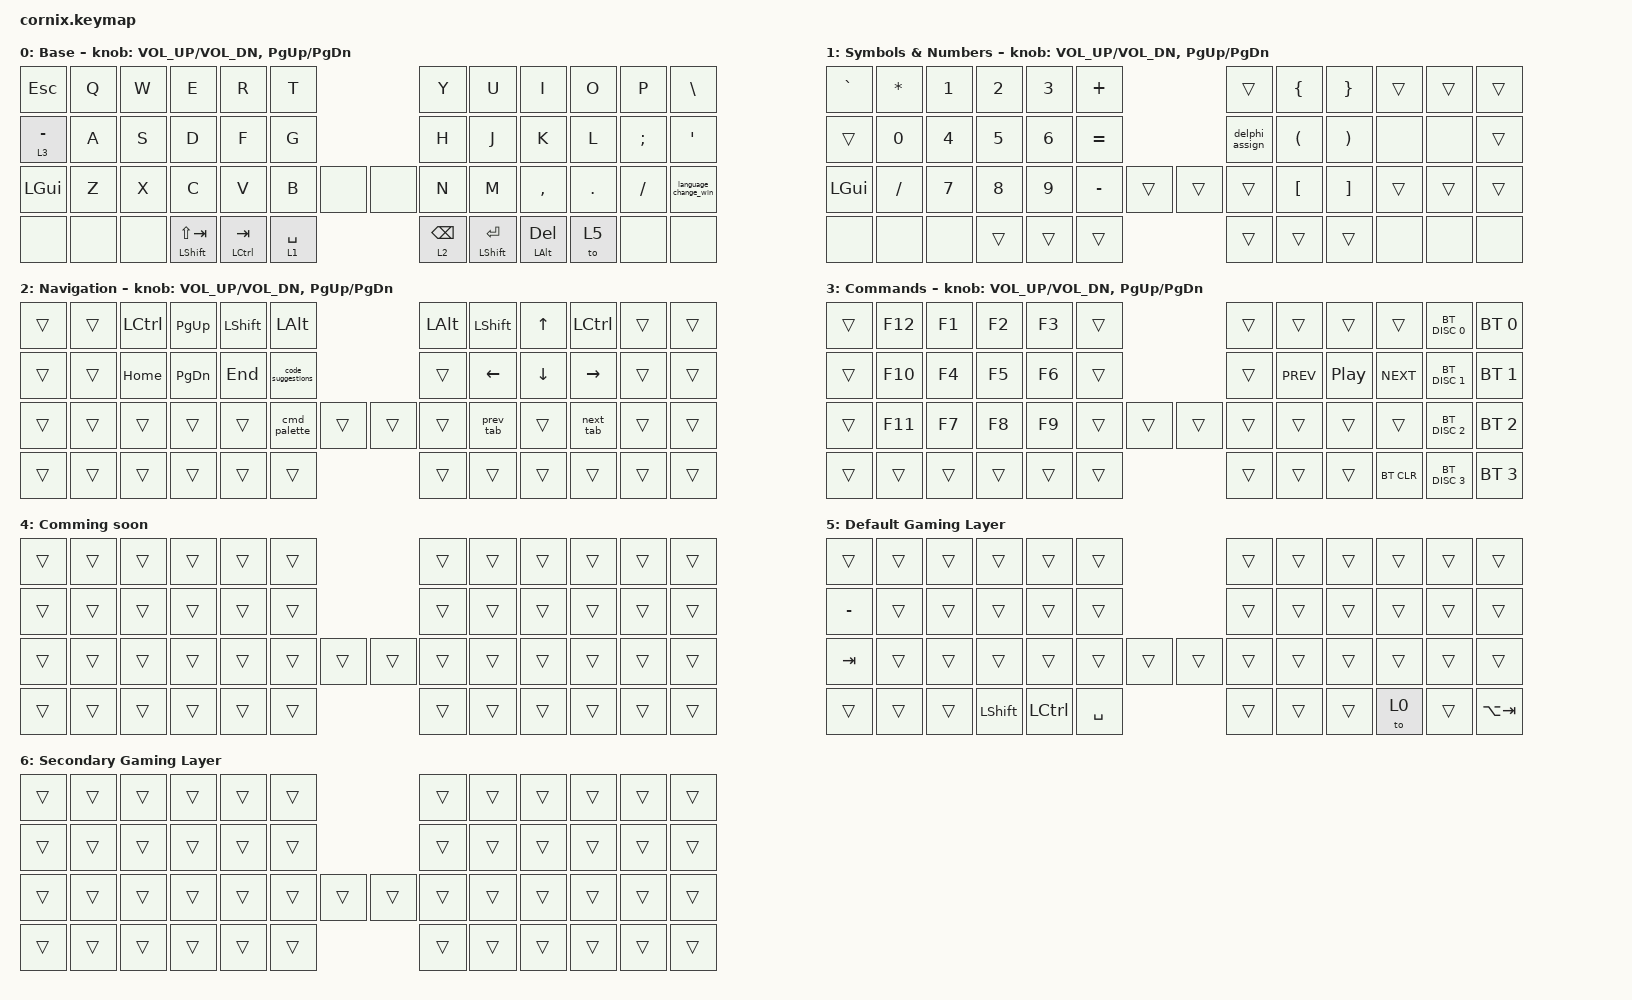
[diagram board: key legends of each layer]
/*
 * Copyright (c) 2020 The ZMK Contributors
 *
 * SPDX-License-Identifier: MIT
 */

#include "zmk-helpers/helper.h"
#include "includes/cornix54.h"

// tap windows for ctl alt and gui

#define HM_TAPPING_TERM 250
#define HM_TAPPING_REPEAT 210

// quick tapping for shift

#define HM_TAPPING_TERM_FAST 200
#define HM_PRIOR_IDLE 70
#define BASE 0
#define WIN 1
#define LOWER 2
#define RAISE 3
#define ADJUST 4
#define NAVI   5
#define NUM    6
#define DEBUG  7

// https://github.com/urob/zmk-config/tree/main#timeless-homerow-mods

#define KEYS_L LT0 LT1 LT2 LT3 LT4 LT5 LM0 LM1 LM2 LM3 LM4 LM5 LB0 LB1 LB2 LB3 LB4 LB5  // left hand
#define KEYS_R RT0 RT1 RT2 RT3 RT4 RT5 RM0 RM1 RM2 RM3 RM4 RM5 RB0 RB1 RB2 RB3 RB4 RB5  // right hand
#define THUMBS LH1 LH0 RH0 RH1
#define KEYS_T LH1 LH0 RH0 RH1
#define ZMK_POINTING_DEFAULT_SCRL_VAL 15

#include <behaviors.dtsi>
#include <dt-bindings/zmk/bt.h>
#include <dt-bindings/zmk/keys.h>

/ {
    // Activate ADJUST layer by pressing raise and lower

    behaviors {
        // Positional Homerow mods for shift
        // Use faster tapping term and disable some features that may
        // cause false negatives.
        /*
         * Non-Positional Homerow Mods
         * Used for &mm_grescm_gui behavior on left hand.
         *
         * Usage: &hm LSHFT T
         * Tap: T
         * Tap-Tap-Hold: Repeat T
         * Hold: LSHIFT
         */

        lt_140: layer_tap_140 {
            compatible = "zmk,behavior-hold-tap";
            #binding-cells = <2>;
            bindings = <&mo>, <&kp>;

            flavor = "tap-preferred";
            tapping-term-ms = <140>;
            quick-tap-ms = <200>;
        };

        lt_150: layer_tap_150 {
            compatible = "zmk,behavior-hold-tap";
            #binding-cells = <2>;
            bindings = <&mo>, <&kp>;

            flavor = "tap-preferred";
            tapping-term-ms = <150>;
            quick-tap-ms = <200>;
        };

        lt_160: layer_tap_160 {
            compatible = "zmk,behavior-hold-tap";
            #binding-cells = <2>;
            bindings = <&mo>, <&kp>;

            flavor = "tap-preferred";
            tapping-term-ms = <160>;
            quick-tap-ms = <200>;
            label = "LT_160";
        };

        ht_140: hold_tap_140 {
            compatible = "zmk,behavior-hold-tap";
            #binding-cells = <2>;
            bindings = <&kp>, <&kp>;

            flavor = "tap-preferred";
            tapping-term-ms = <140>;
            quick-tap-ms = <200>;
        };

        ht_150: hold_tap_150 {
            compatible = "zmk,behavior-hold-tap";
            #binding-cells = <2>;
            bindings = <&kp>, <&kp>;

            flavor = "tap-preferred";
            tapping-term-ms = <150>;
            quick-tap-ms = <200>;
        };

        ht_160: hold_tap_160 {
            compatible = "zmk,behavior-hold-tap";
            #binding-cells = <2>;
            bindings = <&kp>, <&kp>;

            flavor = "tap-preferred";
            tapping-term-ms = <160>;
            quick-tap-ms = <200>;
        };
    };

    conditional_layers { compatible = "zmk,conditional-layers"; };

    combos {
        compatible = "zmk,combos";

        studio_unlock_combo {
            bindings = <&studio_unlock>;
            key-positions = <0 12>;
            layers = <0>;
            timeout-ms = <150>;
        };
    };

    macros {
        language_change_win: language_change_win {
            compatible = "zmk,behavior-macro";
            #binding-cells = <0>;
            bindings = <&kp LG(SPACE)>;
            label = "LANGUAGE_CHANGE_WIN";
        };

        language_change_alt: language_change_alt {
            compatible = "zmk,behavior-macro";
            #binding-cells = <0>;
            bindings = <&kp LA(LEFT_SHIFT)>;
            label = "LANGUAGE_CHANGE_ALT";
        };

        delphi_assign: delphi_assign {
            compatible = "zmk,behavior-macro";
            #binding-cells = <0>;
            bindings = <&kp COLON &kp EQUAL>;
            label = "DELPHI_ASSIGN";
        };

        code_suggestions: code_suggestions {
            compatible = "zmk,behavior-macro";
            #binding-cells = <0>;
            bindings = <&kp LA(SPACE)>;
            label = "CODE_SUGGESTIONS";
        };

        cmd_palette: cmd_palette {
            compatible = "zmk,behavior-macro";
            #binding-cells = <0>;
            bindings = <&kp LG(LA(SPACE))>;
            label = "CMD_PALETTE";
        };

        prev_tab: prev_tab {
            compatible = "zmk,behavior-macro";
            #binding-cells = <0>;
            bindings = <&kp LC(LS(TAB))>;
            label = "PREV_TAB";
        };

        next_tab: next_tab {
            compatible = "zmk,behavior-macro";
            #binding-cells = <0>;
            bindings = <&kp LC(TAB)>;
            label = "NEXT_TAB";
        };
    };

    keymap {
        compatible = "zmk,keymap";

        default_layer {
            display-name = "Base";

            // ------------------------------------------------------------------------------------------------------------
            // |   `   |  1  |  2  |  3   |  4   |  5   |                   |  6   |  7    |  8    |  9   |   0   |       |
            // |  ESC  |  Q  |  W  |  E   |  R   |  T   |                   |  Y   |  U    |  I    |  O   |   P   | BKSPC |
            // |  TAB  |  A  |  S  |  D   |  F   |  G   |                   |  H   |  J    |  K    |  L   |   ;   |   '   |
            // | SHIFT |  Z  |  X  |  C   |  V   |  B   |  MUTE  |  |       |  N   |  M    |  ,    |  .   |   /   | SHIFT |
            //               | GUI | ALT  | CTRL | LOWER|  ENTER |  | SPACE | RAISE| CTRL  | ALT   | GUI  |

            bindings = <
&kp ESCAPE       &kp Q  &kp W  &kp E                       &kp R              &kp T                          &kp Y                &kp U                     &kp I                    &kp O    &kp P          &kp BSLH
&lt_150 3 MINUS  &kp A  &kp S  &kp D                       &kp F              &kp G                          &kp H                &kp J                     &kp K                    &kp L    &kp SEMICOLON  &kp SQT
&kp LEFT_GUI     &kp Z  &kp X  &kp C                       &kp V              &kp B            &none  &none  &kp N                &kp M                     &kp COMMA                &kp DOT  &kp FSLH       &language_change_win
&none            &none  &none  &ht_150 LEFT_SHIFT LS(TAB)  &ht_150 LCTRL TAB  &lt_150 1 SPACE                &lt_150 2 BACKSPACE  &ht_150 LEFT_SHIFT ENTER  &ht_150 LEFT_ALT DELETE  &to 5    &none          &none
            >;

            sensor-bindings = <&inc_dec_kp C_VOL_UP C_VOL_DN &inc_dec_kp PG_UP PG_DN>;
        };

        num_symbols_layer {
            display-name = "Symbols & Numbers";

            // ------------------------------------------------------------------------------------------------------------
            // |   `   |  1  |  2  |  3   |  4   |  5   |                   |  6   |  7    |  8    |  9   |   0   |       |
            // |  ESC  |  Q  |  W  |  E   |  R   |  T   |                   |  Y   |  U    |  I    |  O   |   P   | BKSPC |
            // |  TAB  |  A  |  S  |  D   |  F   |  G   |                   |  H   |  J    |  K    |  L   |   ;   |   '   |
            // | SHIFT |  Z  |  X  |  C   |  V   |  B   |  MUTE  |  |       |  N   |  M    |  ,    |  .   |   /   | SHIFT |
            //               | GUI | ALT  | CTRL | LOWER|  ENTER |  | SPACE | RAISE| CTRL  | ALT   | GUI  |

            bindings = <
&kp GRAVE  &kp ASTERISK  &kp NUMBER_1  &kp NUMBER_2  &kp NUMBER_3  &kp PLUS                   &trans          &kp LEFT_BRACE        &kp RIGHT_BRACE        &trans  &trans  &trans
&trans     &kp N0        &kp NUMBER_4  &kp N5        &kp N6        &kp EQUAL                  &delphi_assign  &kp LEFT_PARENTHESIS  &kp RIGHT_PARENTHESIS  &none   &none   &trans
&kp LGUI   &kp FSLH      &kp N7        &kp N8        &kp N9        &kp MINUS  &trans  &trans  &trans          &kp LBKT              &kp RBKT               &trans  &trans  &trans
&none      &none         &none         &trans        &trans        &trans                     &trans          &trans                &trans                 &none   &none   &none
            >;

            sensor-bindings = <&inc_dec_kp C_VOL_UP C_VOL_DN &inc_dec_kp PG_UP PG_DN>;
        };

        navigation_layer {
            display-name = "Navigation";

            // TODO: Some binds are waiting for shifted keycode support.
            // -------------------------------
            // |       |  F1 |  F2 |  F3  |  F4  |  F5  |                   |  F6  |  F7   |  F8   |  F9  |  F10  |  F11  |
            // |   `   |  1  |  2  |  3   |  4   |  5   |                   |  6   |  7    |  8    |  9   |   0   |  F12  |
            // |       |  !  |  @  |  #   |  $   |  %   |                   |  ^   |  &    |  *    |  (   |   )   |   |   |
            // |       |  =  |  -  |  +   |  {   |  }   |        |  |       |  [   |  ]    |  ;    |  :   |   \   |       |
            //               |     |      |      |      |        |  |       |      |       |       |      |

            bindings = <
&trans  &trans  &kp LCTRL  &kp PAGE_UP    &kp LEFT_SHIFT  &kp LEFT_ALT                       &kp LEFT_ALT  &kp LEFT_SHIFT  &kp UP_ARROW    &kp LCTRL  &trans  &trans
&trans  &trans  &kp HOME   &kp PAGE_DOWN  &kp END         &code_suggestions                  &trans        &kp LEFT        &kp DOWN_ARROW  &kp RIGHT  &trans  &trans
&trans  &trans  &trans     &trans         &trans          &cmd_palette       &trans  &trans  &trans        &prev_tab       &trans          &next_tab  &trans  &trans
&trans  &trans  &trans     &trans         &trans          &trans                             &trans        &trans          &trans          &trans     &trans  &trans
            >;

            sensor-bindings = <&inc_dec_kp C_VOL_UP C_VOL_DN &inc_dec_kp PG_UP PG_DN>;
        };

        command_layer {
            display-name = "Commands";

            // ------------------------------------------------------------------------------------------------------------
            // | BTCLR | BT1  | BT2  |  BT3  |  BT4  |  BT5 |                |      |      |       |      |       |       |
            // |       | INS  | PSCR | GUI   |       |      |                | PGUP |      |   ^   |      |       |       |
            // |       | ALT  | CTRL | SHIFT |       | CAPS |                | PGDN |   <- |   v   |  ->  |  DEL  | BKSPC |
            // |       | UNDO | CUT  | COPY  | PASTE |      |      |  |      |      |      |       |      |       |       |
            //                |      |       |       |      |      |  |      |      |      |       |      |

            bindings = <
&trans  &kp F12  &kp F1  &kp F2  &kp F3  &trans                  &trans  &trans      &trans            &trans      &bt BT_DISC 0  &bt BT_SEL 0
&trans  &kp F10  &kp F4  &kp F5  &kp F6  &trans                  &trans  &kp C_PREV  &kp C_PLAY_PAUSE  &kp C_NEXT  &bt BT_DISC 1  &bt BT_SEL 1
&trans  &kp F11  &kp F7  &kp F8  &kp F9  &trans  &trans  &trans  &trans  &trans      &trans            &trans      &bt BT_DISC 2  &bt BT_SEL 2
&trans  &trans   &trans  &trans  &trans  &trans                  &trans  &trans      &trans            &bt BT_CLR  &bt BT_DISC 3  &bt BT_SEL 3
            >;

            sensor-bindings = <&inc_dec_kp C_VOL_UP C_VOL_DN &inc_dec_kp PG_UP PG_DN>;
        };

        empty_layer {
            bindings = <
&trans  &trans  &trans  &trans  &trans  &trans                  &trans  &trans  &trans  &trans  &trans  &trans
&trans  &trans  &trans  &trans  &trans  &trans                  &trans  &trans  &trans  &trans  &trans  &trans
&trans  &trans  &trans  &trans  &trans  &trans  &trans  &trans  &trans  &trans  &trans  &trans  &trans  &trans
&trans  &trans  &trans  &trans  &trans  &trans                  &trans  &trans  &trans  &trans  &trans  &trans
            >;

            label = "Comming soon";
        };

        gaming_1 {
            bindings = <
&trans     &trans  &trans  &trans          &trans     &trans                     &trans  &trans  &trans  &trans  &trans  &trans
&kp MINUS  &trans  &trans  &trans          &trans     &trans                     &trans  &trans  &trans  &trans  &trans  &trans
&kp TAB    &trans  &trans  &trans          &trans     &trans     &trans  &trans  &trans  &trans  &trans  &trans  &trans  &trans
&trans     &trans  &trans  &kp LEFT_SHIFT  &kp LCTRL  &kp SPACE                  &trans  &trans  &trans  &to 0   &trans  &kp LA(TAB)
            >;

            label = "Default Gaming Layer";
        };

        gaming_2 {
            bindings = <
&trans  &trans  &trans  &trans  &trans  &trans                  &trans  &trans  &trans  &trans  &trans  &trans
&trans  &trans  &trans  &trans  &trans  &trans                  &trans  &trans  &trans  &trans  &trans  &trans
&trans  &trans  &trans  &trans  &trans  &trans  &trans  &trans  &trans  &trans  &trans  &trans  &trans  &trans
&trans  &trans  &trans  &trans  &trans  &trans                  &trans  &trans  &trans  &trans  &trans  &trans
            >;

            label = "Secondary Gaming Layer";
        };
    };
};
